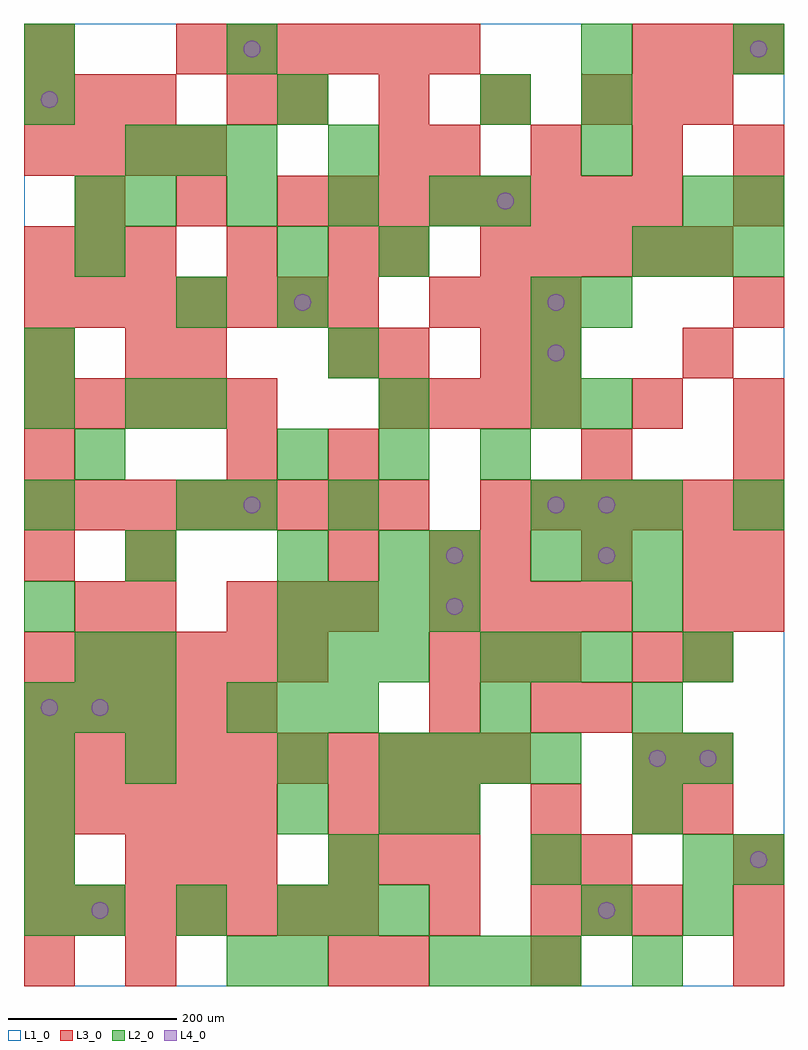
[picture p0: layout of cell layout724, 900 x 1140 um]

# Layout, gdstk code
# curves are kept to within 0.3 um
import gdstk
lib = gdstk.Library(unit=1e-6, precision=1e-09)
def R(c, l, rs):  # rectangles x0, y0, x1, y1
    for r in rs: c.add(gdstk.rectangle(r[:2], r[2:], *l))
def A(c, l, x, y, w, h, nx, ny, dx, dy):  # array of equal rectangles
    R(c, l, [(x+i*dx, y+j*dy, x+i*dx+w, y+j*dy+h) for i in range(nx) for j in range(ny)])
def P(c, l, *ps):  # polygons
    for p in ps: c.add(gdstk.Polygon(p, *l))
L1_0 = (1, 0)
L2_0 = (2, 0)
L3_0 = (3, 0)
L4_0 = (4, 0)

layout724 = lib.new_cell('layout724')
R(layout724, L1_0, [(0,0,900,1140)])
A(layout724, L2_0, 240, 0, 60, 60, 1, 3, 0, 540)
A(layout724, L2_0, 480, 0, 60, 60, 3, 1, 60, 0)
A(layout724, L2_0, 0, 60, 60, 60, 1, 4, 0, 60)
A(layout724, L2_0, 60, 60, 60, 60, 3, 1, 120, 0)
A(layout724, L2_0, 780, 120, 60, 60, 1, 3, 0, 120)
A(layout724, L2_0, 720, 180, 60, 60, 1, 3, 0, 60)
A(layout724, L2_0, 120, 240, 60, 60, 1, 3, 0, 120)
A(layout724, L2_0, 420, 240, 60, 60, 4, 1, 60, 0)
A(layout724, L2_0, 0, 300, 60, 60, 3, 1, 60, 0)
A(layout724, L2_0, 240, 300, 60, 60, 3, 1, 60, 0)
A(layout724, L2_0, 60, 360, 60, 60, 1, 3, 0, 240)
A(layout724, L2_0, 300, 360, 60, 60, 3, 1, 60, 0)
A(layout724, L2_0, 540, 360, 60, 60, 3, 1, 60, 0)
A(layout724, L2_0, 0, 420, 60, 60, 1, 3, 0, 120)
A(layout724, L2_0, 300, 420, 60, 60, 4, 1, 60, 0)
A(layout724, L2_0, 420, 480, 60, 60, 1, 3, 0, 180)
A(layout724, L2_0, 600, 480, 60, 60, 3, 2, 60, 60)
A(layout724, L2_0, 180, 540, 60, 60, 1, 3, 0, 120)
A(layout724, L2_0, 300, 600, 60, 60, 3, 1, 120, 0)
A(layout724, L2_0, 600, 660, 60, 60, 1, 3, 0, 60)
A(layout724, L2_0, 720, 840, 60, 60, 3, 1, 60, 0)
A(layout724, L2_0, 120, 900, 60, 60, 4, 1, 120, 0)
A(layout724, L2_0, 120, 960, 60, 60, 3, 1, 60, 0)
A(layout724, L2_0, 660, 960, 60, 60, 1, 3, 0, 60)
R(layout724, L2_0, [(300,0,360,60), (720,0,780,60), (360,60,420,120), (420,60,480,120), (660,60,720,120), (780,60,840,120), (360,120,420,180), (600,120,660,180), (840,120,900,180), (300,180,360,240), (420,180,480,240), (480,180,540,240), (300,240,360,300), (540,300,600,360), (720,420,780,480), (300,480,360,540), (480,480,540,540), (360,540,420,600), (840,540,900,600), (120,660,180,720), (660,660,720,720), (0,720,60,780), (360,720,420,780), (300,780,360,840), (660,780,720,840), (300,840,360,900), (60,900,120,960), (540,900,600,960), (780,900,840,960), (840,900,900,960), (360,960,420,1020), (0,1020,60,1080), (300,1020,360,1080), (540,1020,600,1080), (0,1080,60,1140), (840,1080,900,1140)])
A(layout724, L3_0, 840, 0, 60, 60, 1, 3, 0, 60)
A(layout724, L3_0, 0, 60, 60, 60, 7, 2, 60, 720)
A(layout724, L3_0, 600, 60, 60, 60, 3, 1, 60, 0)
A(layout724, L3_0, 120, 120, 60, 60, 3, 1, 60, 0)
A(layout724, L3_0, 360, 120, 60, 60, 3, 2, 60, 60)
A(layout724, L3_0, 0, 180, 60, 60, 5, 2, 60, 120)
A(layout724, L3_0, 0, 240, 60, 60, 10, 1, 60, 0)
A(layout724, L3_0, 0, 360, 60, 60, 6, 1, 60, 0)
A(layout724, L3_0, 480, 360, 60, 60, 3, 2, 60, 420)
A(layout724, L3_0, 240, 420, 60, 60, 3, 1, 60, 0)
A(layout724, L3_0, 480, 420, 60, 60, 4, 1, 60, 0)
A(layout724, L3_0, 780, 420, 60, 60, 1, 3, 0, 300)
A(layout724, L3_0, 0, 480, 60, 60, 1, 3, 0, 120)
A(layout724, L3_0, 360, 480, 60, 60, 1, 4, 0, 120)
A(layout724, L3_0, 540, 480, 60, 60, 3, 1, 120, 0)
A(layout724, L3_0, 0, 540, 60, 60, 8, 1, 60, 0)
A(layout724, L3_0, 540, 540, 60, 60, 6, 1, 60, 0)
A(layout724, L3_0, 0, 660, 60, 60, 5, 1, 60, 0)
A(layout724, L3_0, 420, 660, 60, 60, 4, 1, 60, 0)
A(layout724, L3_0, 840, 660, 60, 60, 1, 3, 0, 120)
A(layout724, L3_0, 420, 720, 60, 60, 1, 3, 0, 120)
A(layout724, L3_0, 0, 840, 60, 60, 3, 2, 60, 180)
A(layout724, L3_0, 540, 840, 60, 60, 5, 1, 60, 0)
A(layout724, L3_0, 60, 900, 60, 60, 3, 1, 120, 0)
A(layout724, L3_0, 360, 900, 60, 60, 7, 1, 60, 0)
A(layout724, L3_0, 0, 960, 60, 60, 4, 1, 60, 0)
A(layout724, L3_0, 480, 960, 60, 60, 4, 1, 120, 0)
A(layout724, L3_0, 300, 1020, 60, 60, 4, 1, 120, 0)
A(layout724, L3_0, 180, 1080, 60, 60, 6, 1, 60, 0)
A(layout724, L3_0, 720, 1080, 60, 60, 3, 1, 60, 0)
R(layout724, L3_0, [(0,0,60,60), (120,0,180,60), (360,0,420,60), (420,0,480,60), (600,0,660,60), (480,60,540,120), (0,120,60,180), (600,120,660,180), (660,120,720,180), (600,180,660,240), (720,180,780,240), (780,180,840,240), (720,240,780,300), (780,240,840,300), (480,300,540,360), (600,300,660,360), (660,300,720,360), (720,360,780,420), (780,360,840,420), (60,420,120,480), (120,420,180,480), (840,420,900,480), (120,480,180,540), (480,480,540,540), (840,480,900,540), (240,600,300,660), (660,600,720,660), (840,600,900,660), (720,660,780,720), (120,720,180,780), (180,720,240,780), (540,720,600,780), (600,720,660,780), (240,840,300,900), (240,1020,300,1080), (720,1020,780,1080), (0,1080,60,1140)])
P(layout724, L4_0, [(40,330),(39.239,333.827),(37.071,337.071),(33.827,339.239),(30,340),(26.173,339.239),(22.929,337.071),(20.761,333.827),(20,330),(20.761,326.173),(22.929,322.929),(26.173,320.761),(30,320),(33.827,320.761),(37.071,322.929),(39.239,326.173)],
  [(40,1050),(39.239,1053.827),(37.071,1057.071),(33.827,1059.239),(30,1060),(26.173,1059.239),(22.929,1057.071),(20.761,1053.827),(20,1050),(20.761,1046.173),(22.929,1042.929),(26.173,1040.761),(30,1040),(33.827,1040.761),(37.071,1042.929),(39.239,1046.173)],
  [(100,90),(99.239,93.827),(97.071,97.071),(93.827,99.239),(90,100),(86.173,99.239),(82.929,97.071),(80.761,93.827),(80,90),(80.761,86.173),(82.929,82.929),(86.173,80.761),(90,80),(93.827,80.761),(97.071,82.929),(99.239,86.173)],
  [(100,330),(99.239,333.827),(97.071,337.071),(93.827,339.239),(90,340),(86.173,339.239),(82.929,337.071),(80.761,333.827),(80,330),(80.761,326.173),(82.929,322.929),(86.173,320.761),(90,320),(93.827,320.761),(97.071,322.929),(99.239,326.173)],
  [(280,570),(279.239,573.827),(277.071,577.071),(273.827,579.239),(270,580),(266.173,579.239),(262.929,577.071),(260.761,573.827),(260,570),(260.761,566.173),(262.929,562.929),(266.173,560.761),(270,560),(273.827,560.761),(277.071,562.929),(279.239,566.173)],
  [(280,1110),(279.239,1113.827),(277.071,1117.071),(273.827,1119.239),(270,1120),(266.173,1119.239),(262.929,1117.071),(260.761,1113.827),(260,1110),(260.761,1106.173),(262.929,1102.929),(266.173,1100.761),(270,1100),(273.827,1100.761),(277.071,1102.929),(279.239,1106.173)],
  [(340,810),(339.239,813.827),(337.071,817.071),(333.827,819.239),(330,820),(326.173,819.239),(322.929,817.071),(320.761,813.827),(320,810),(320.761,806.173),(322.929,802.929),(326.173,800.761),(330,800),(333.827,800.761),(337.071,802.929),(339.239,806.173)],
  [(520,450),(519.239,453.827),(517.071,457.071),(513.827,459.239),(510,460),(506.173,459.239),(502.929,457.071),(500.761,453.827),(500,450),(500.761,446.173),(502.929,442.929),(506.173,440.761),(510,440),(513.827,440.761),(517.071,442.929),(519.239,446.173)],
  [(520,510),(519.239,513.827),(517.071,517.071),(513.827,519.239),(510,520),(506.173,519.239),(502.929,517.071),(500.761,513.827),(500,510),(500.761,506.173),(502.929,502.929),(506.173,500.761),(510,500),(513.827,500.761),(517.071,502.929),(519.239,506.173)],
  [(580,930),(579.239,933.827),(577.071,937.071),(573.827,939.239),(570,940),(566.173,939.239),(562.929,937.071),(560.761,933.827),(560,930),(560.761,926.173),(562.929,922.929),(566.173,920.761),(570,920),(573.827,920.761),(577.071,922.929),(579.239,926.173)],
  [(640,570),(639.239,573.827),(637.071,577.071),(633.827,579.239),(630,580),(626.173,579.239),(622.929,577.071),(620.761,573.827),(620,570),(620.761,566.173),(622.929,562.929),(626.173,560.761),(630,560),(633.827,560.761),(637.071,562.929),(639.239,566.173)],
  [(640,750),(639.239,753.827),(637.071,757.071),(633.827,759.239),(630,760),(626.173,759.239),(622.929,757.071),(620.761,753.827),(620,750),(620.761,746.173),(622.929,742.929),(626.173,740.761),(630,740),(633.827,740.761),(637.071,742.929),(639.239,746.173)],
  [(640,810),(639.239,813.827),(637.071,817.071),(633.827,819.239),(630,820),(626.173,819.239),(622.929,817.071),(620.761,813.827),(620,810),(620.761,806.173),(622.929,802.929),(626.173,800.761),(630,800),(633.827,800.761),(637.071,802.929),(639.239,806.173)],
  [(700,90),(699.239,93.827),(697.071,97.071),(693.827,99.239),(690,100),(686.173,99.239),(682.929,97.071),(680.761,93.827),(680,90),(680.761,86.173),(682.929,82.929),(686.173,80.761),(690,80),(693.827,80.761),(697.071,82.929),(699.239,86.173)],
  [(700,510),(699.239,513.827),(697.071,517.071),(693.827,519.239),(690,520),(686.173,519.239),(682.929,517.071),(680.761,513.827),(680,510),(680.761,506.173),(682.929,502.929),(686.173,500.761),(690,500),(693.827,500.761),(697.071,502.929),(699.239,506.173)],
  [(700,570),(699.239,573.827),(697.071,577.071),(693.827,579.239),(690,580),(686.173,579.239),(682.929,577.071),(680.761,573.827),(680,570),(680.761,566.173),(682.929,562.929),(686.173,560.761),(690,560),(693.827,560.761),(697.071,562.929),(699.239,566.173)],
  [(760,270),(759.239,273.827),(757.071,277.071),(753.827,279.239),(750,280),(746.173,279.239),(742.929,277.071),(740.761,273.827),(740,270),(740.761,266.173),(742.929,262.929),(746.173,260.761),(750,260),(753.827,260.761),(757.071,262.929),(759.239,266.173)],
  [(820,270),(819.239,273.827),(817.071,277.071),(813.827,279.239),(810,280),(806.173,279.239),(802.929,277.071),(800.761,273.827),(800,270),(800.761,266.173),(802.929,262.929),(806.173,260.761),(810,260),(813.827,260.761),(817.071,262.929),(819.239,266.173)],
  [(880,150),(879.239,153.827),(877.071,157.071),(873.827,159.239),(870,160),(866.173,159.239),(862.929,157.071),(860.761,153.827),(860,150),(860.761,146.173),(862.929,142.929),(866.173,140.761),(870,140),(873.827,140.761),(877.071,142.929),(879.239,146.173)],
  [(880,1110),(879.239,1113.827),(877.071,1117.071),(873.827,1119.239),(870,1120),(866.173,1119.239),(862.929,1117.071),(860.761,1113.827),(860,1110),(860.761,1106.173),(862.929,1102.929),(866.173,1100.761),(870,1100),(873.827,1100.761),(877.071,1102.929),(879.239,1106.173)])

lib.write_gds('layout724.gds')
